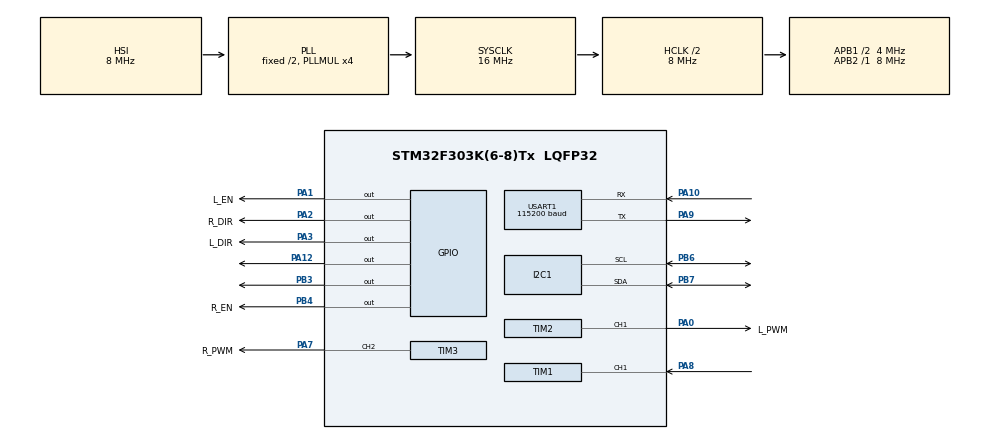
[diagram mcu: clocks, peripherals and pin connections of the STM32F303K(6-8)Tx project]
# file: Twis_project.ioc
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I2C1.Timing=0x00201D2B
Mcu.Family=STM32F3
Mcu.Name=STM32F303K(6-8)Tx
Mcu.Package=LQFP32
NVIC.PriorityGroup=NVIC_PRIORITYGROUP_4
NVIC.TIM1_CC_IRQn=true\:0\:0\:false\:false\:true\:true\:true\:true
NVIC.USART1_IRQn=true\:0\:0\:false\:false\:true\:true\:true\:true
PA0.GPIO_Label=L_PWM
PA0.Signal=S_TIM2_CH1_ETR
PA1.GPIO_Label=L_EN
PA1.GPIO_PuPd=GPIO_NOPULL
PA1.Signal=GPIO_Output
PA10.Mode=Asynchronous
PA10.Signal=USART1_RX
PA12.Signal=GPIO_Output
PA2.GPIO_Label=R_DIR
PA2.GPIO_ModeDefaultOutputPP=GPIO_MODE_OUTPUT_PP
PA2.GPIO_PuPd=GPIO_NOPULL
PA2.PinState=GPIO_PIN_RESET
PA2.Signal=GPIO_Output
PA3.GPIO_Label=L_DIR
PA3.Signal=GPIO_Output
PA7.GPIO_Label=R_PWM
PA7.Signal=S_TIM3_CH2
PA8.Signal=S_TIM1_CH1
PA9.Mode=Asynchronous
PA9.Signal=USART1_TX
PB3.Signal=GPIO_Output
PB4.GPIO_Label=R_EN
PB4.Signal=GPIO_Output
PB6.Mode=I2C
PB6.Signal=I2C1_SCL
PB7.Mode=I2C
PB7.Signal=I2C1_SDA
ProjectManager.HeapSize=0x200
ProjectManager.StackSize=0x400
ProjectManager.TargetToolchain=STM32CubeIDE
RCC.AHBCLKDivider=RCC_SYSCLK_DIV2
RCC.AHBFreq_Value=8000000
RCC.APB1CLKDivider=RCC_HCLK_DIV2
RCC.APB1Freq_Value=4000000
RCC.APB1TimFreq_Value=8000000
RCC.APB2Freq_Value=8000000
RCC.APB2TimFreq_Value=8000000
RCC.CortexFreq_Value=8000000
RCC.HCLKFreq_Value=8000000
RCC.HSE_VALUE=8000000
RCC.HSI_VALUE=8000000
RCC.PLLMUL=RCC_PLL_MUL4
RCC.SYSCLKFreq_VALUE=16000000
RCC.SYSCLKSourceVirtual=RCC_SYSCLKSOURCE_PLLCLK
SH.S_TIM1_CH1.0=TIM1_CH1,Input_Capture1_from_TI1
SH.S_TIM2_CH1_ETR.0=TIM2_CH1,PWM Generation1 CH1
SH.S_TIM3_CH2.0=TIM3_CH2,PWM Generation2 CH2
TIM1.Channel-Input_Capture1_from_TI1=TIM_CHANNEL_1
TIM1.Prescaler=72-1
TIM1.RepetitionCounter=0xfff-1
TIM2.Channel-PWM\ Generation1\ CH1=TIM_CHANNEL_1
TIM3.Channel-PWM\ Generation2\ CH2=TIM_CHANNEL_2
USART1.BaudRate=115200
USART1.VirtualMode-Asynchronous=VM_ASYNC
VP_TIM2_VS_ClockSourceINT.Mode=Internal
VP_TIM3_VS_ClockSourceINT.Mode=Internal
board=custom

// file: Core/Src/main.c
/* USER CODE BEGIN Header */
/**
  ******************************************************************************
  * @file           : main.c
  * @brief          : Main program body
  ******************************************************************************
  */
/* USER CODE END Header */
#include "main.h"
#include "i2c.h"
#include "tim.h"
#include "usart.h"
#include "gpio.h"

/* USER CODE BEGIN Includes */

#include <stdio.h>
#include <string.h>

#include "comm_rpizero2w.h"
#include "imu_mpu6500.h"
#include "motors_24h055m020.h"
#include "ultrasonic_hcsr04.h"

/* USER CODE END Includes */

void SystemClock_Config(void);

int main(void)
{

  /* MCU Configuration--------------------------------------------------------*/

  /* Reset of all peripherals, Initializes the Flash interface and the Systick. */
  HAL_Init();

  /* Configure the system clock */
  SystemClock_Config();

  /* Initialize all configured peripherals */
  MX_GPIO_Init();
  MX_TIM3_Init();
  MX_USART1_UART_Init();
  MX_TIM2_Init();
  MX_TIM1_Init();
  MX_I2C1_Init();
  /* USER CODE BEGIN 2 */

  Comm_Init();
  uint32_t last_tx = 0;

  Motors_Init();

  Ultrasonic_Init(&htim1);

  IMU_Init();
  IMU_Data imu;

  /* USER CODE END 2 */

  /* Infinite loop */
  /* USER CODE BEGIN WHILE */

  while (1)
  {
	IMU_ReadData(&imu);

	float d_cm     = Ultrasonic_ReadDistanceCM();
	float d_avg_cm = Ultrasonic_ReadDistanceAvg(5);

	Motors_Control(g_keys_state, imu.roll_degmean, d_avg_cm);

	uint32_t now = HAL_GetTick();
	if (now - last_tx >= 100) {
	  last_tx = now;

      float v[11] = {
	    imu.ax_g, imu.ay_g, imu.az_g,
	    imu.gx_dps, imu.gy_dps, imu.gz_dps,
	    imu.temp_c,
	    d_cm,
	    imu.roll_deg,
		imu.roll_degmean, //mean_roll_deg,
	    d_avg_cm
	  };

	  Comm_SendTelem11(v);
	}
    /* USER CODE END WHILE */

  }
}

void SystemClock_Config(void)
{
  RCC_OscInitTypeDef RCC_OscInitStruct = {0};
  RCC_ClkInitTypeDef RCC_ClkInitStruct = {0};
  RCC_PeriphCLKInitTypeDef PeriphClkInit = {0};

  /** Initializes the RCC Oscillators according to the specified parameters
  * in the RCC_OscInitTypeDef structure.
  */
  RCC_OscInitStruct.OscillatorType = RCC_OSCILLATORTYPE_HSI;
  RCC_OscInitStruct.HSIState = RCC_HSI_ON;
  RCC_OscInitStruct.HSICalibrationValue = RCC_HSICALIBRATION_DEFAULT;
  RCC_OscInitStruct.PLL.PLLState = RCC_PLL_ON;
  RCC_OscInitStruct.PLL.PLLSource = RCC_PLLSOURCE_HSI;
  RCC_OscInitStruct.PLL.PLLMUL = RCC_PLL_MUL4;
  if (HAL_RCC_OscConfig(&RCC_OscInitStruct) != HAL_OK)
  {
    Error_Handler();
  }

  /** Initializes the CPU, AHB and APB buses clocks
  */
  RCC_ClkInitStruct.ClockType = RCC_CLOCKTYPE_HCLK|RCC_CLOCKTYPE_SYSCLK
                              |RCC_CLOCKTYPE_PCLK1|RCC_CLOCKTYPE_PCLK2;
  RCC_ClkInitStruct.SYSCLKSource = RCC_SYSCLKSOURCE_PLLCLK;
  RCC_ClkInitStruct.AHBCLKDivider = RCC_SYSCLK_DIV2;
  RCC_ClkInitStruct.APB1CLKDivider = RCC_HCLK_DIV2;
  RCC_ClkInitStruct.APB2CLKDivider = RCC_HCLK_DIV1;

  if (HAL_RCC_ClockConfig(&RCC_ClkInitStruct, FLASH_LATENCY_0) != HAL_OK)
  {
    Error_Handler();
  }
  PeriphClkInit.PeriphClockSelection = RCC_PERIPHCLK_USART1|RCC_PERIPHCLK_I2C1
                              |RCC_PERIPHCLK_TIM1;
  PeriphClkInit.Usart1ClockSelection = RCC_USART1CLKSOURCE_PCLK1;
  PeriphClkInit.I2c1ClockSelection = RCC_I2C1CLKSOURCE_HSI;
  PeriphClkInit.Tim1ClockSelection = RCC_TIM1CLK_HCLK;
  if (HAL_RCCEx_PeriphCLKConfig(&PeriphClkInit) != HAL_OK)
  {
    Error_Handler();
  }
}

void Error_Handler(void)
{
  __disable_irq();
  while (1)
  {
  }
}
